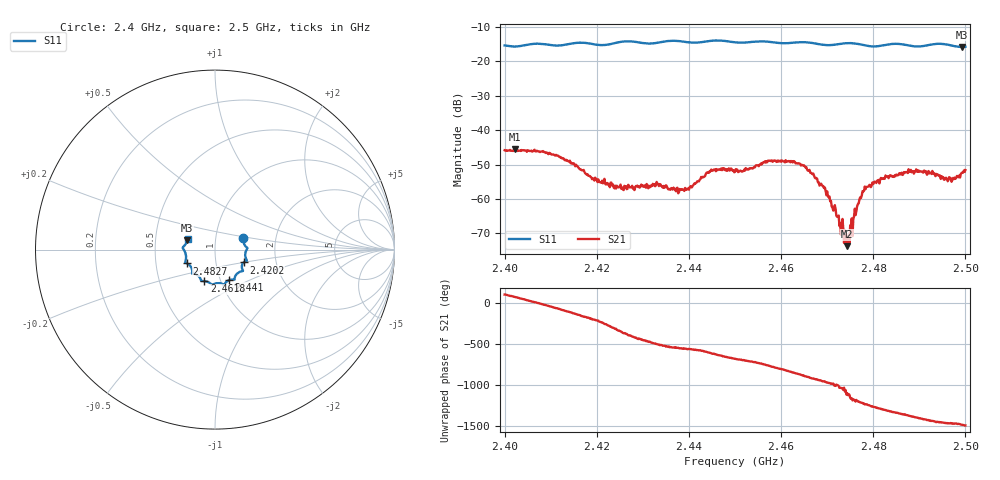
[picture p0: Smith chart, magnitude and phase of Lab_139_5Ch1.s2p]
# Hz S RI R 50
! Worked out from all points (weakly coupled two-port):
!   601 points, 2.4 GHz to 2.5 GHz, reference 50 ohm
!   highest |S21| = -45.50 dB at 2.4022 GHz (marker M1); lowest = -73.7 dB at 2.4743 GHz (marker M2)
!   lowest |S11| = -15.8 dB at 2.4993 GHz (marker M3), VSWR 1.39, Z = 36.5 + j3.81 ohm
!   |S11| at or under -10 dB: start of sweep to end of sweep
!   S12 and S22 are empty: the file has one direction only
!   S11 on the Smith chart (normalised r, x): 2.4 GHz: 1.36, +0.18; 2.4202 GHz: 1.36, -0.20; 2.441 GHz: 1.10, -0.39; 2.4618 GHz: 0.84, -0.30; 2.4827 GHz: 0.72, -0.12; 2.5 GHz: 0.73, +0.09
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2.4e9  0.1586 0.0629  -0.00103 0.00502  0 0  0 0
2.402167e9  0.1602 0.0374  0.00153 0.00508  0 0  0 0
2.411167e9  0.1692 -0.0184  0.00192 -0.00395  0 0  0 0
2.416667e9  0.1772 -0.0607  -0.00248 -0.000909  0 0  0 0
2.420167e9  0.159 -0.0715  -0.00143 0.00103  0 0  0 0
2.426167e9  0.1562 -0.1181  0.00144 -0.000243  0 0  0 0
2.433333e9  0.1117 -0.1507  -0.00134 -0.000925  0 0  0 0
2.438167e9  0.1032 -0.1672  -0.00133 0.00033  0 0  0 0
2.441e9  0.079 -0.1698  -0.0014 0.000769  0 0  0 0
2.445e9  0.0522 -0.193  -0.000691 0.00252  0 0  0 0
2.45e9  0.0286 -0.1876  0.00188 0.00162  0 0  0 0
2.461833e9  -0.0591 -0.1757  -0.00144 -0.00324  0 0  0 0
2.466667e9  -0.0789 -0.1683  -0.00223 0.000706  0 0  0 0
2.4695e9  -0.091 -0.1474  -0.000858 0.0012  0 0  0 0
2.474333e9  -0.1261 -0.1344  0.000197 -6.05e-05  0 0  0 0
2.478167e9  -0.1275 -0.1142  -0.00137 -0.000648  0 0  0 0
2.482667e9  -0.1558 -0.0772  -0.00163 0.00148  0 0  0 0
2.483333e9  -0.1603 -0.0751  -0.00122 0.0016  0 0  0 0
2.489667e9  -0.1623 -0.0288  0.00194 0.00176  0 0  0 0
2.496667e9  -0.1711 0.0212  0.00187 -0.000817  0 0  0 0
2.499333e9  -0.1541 0.0509  0.00182 -0.00162  0 0  0 0
2.5e9  -0.1523 0.0604  0.00169 -0.00203  0 0  0 0
